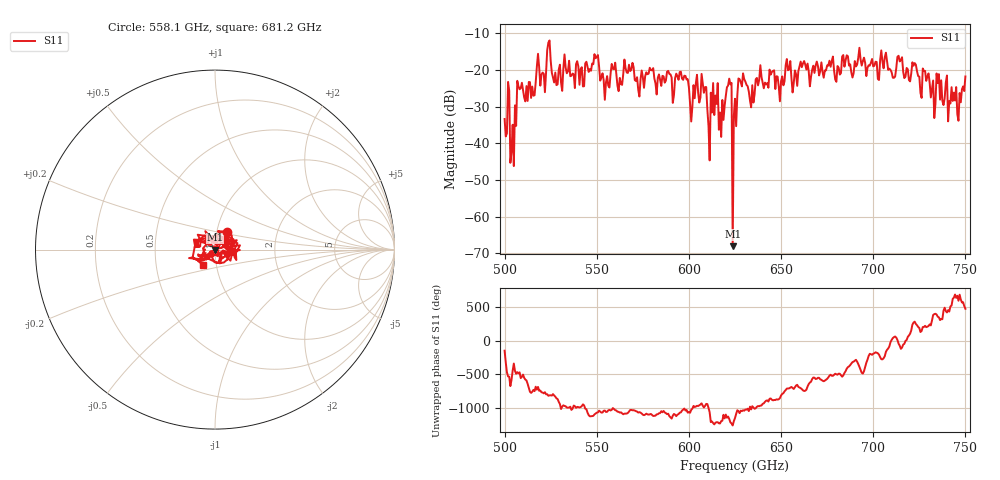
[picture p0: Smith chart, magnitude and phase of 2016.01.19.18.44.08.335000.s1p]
!Created with skrf (http://scikit-rf.org).
# GHz S RI R 50.0
!freq ReS11 ImS11
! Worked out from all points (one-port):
!   401 points, 500 GHz to 750 GHz, reference 50 ohm
!   lowest |S11| = -68.1 dB at 623.8 GHz (marker M1), VSWR 1.00, Z = 50 - j0.00313 ohm
!   |S11| at or under -10 dB: start of sweep to end of sweep
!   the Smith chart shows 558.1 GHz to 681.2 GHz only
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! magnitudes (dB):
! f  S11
! 500 GHz  -33.4
! 501.2 GHz  -37.3
! 504.4 GHz  -34.9
! 508.1 GHz  -25.3
! 515.6 GHz  -27.0
! 523.8 GHz  -12.5
! 527.5 GHz  -20.7
! 531.2 GHz  -25.7
! 549.4 GHz  -16.8
! 562.5 GHz  -22.2
! 593.8 GHz  -21.7
! 601.9 GHz  -30.0
! 608.1 GHz  -26.2
! 611.2 GHz  -44.7
! 614.4 GHz  -27.0
! 617.5 GHz  -38.3
! 621.9 GHz  -22.4
! 622.5 GHz  -23.9
! 623.8 GHz  -68.1
! 625 GHz  -27.9
! 625.6 GHz  -35.3
! 628.1 GHz  -23.3
! 634.4 GHz  -24.2
! 656.2 GHz  -26.1
! 687.5 GHz  -18.5
! 718.8 GHz  -19.8
! 746.9 GHz  -26.3
! 750 GHz  -21.8
